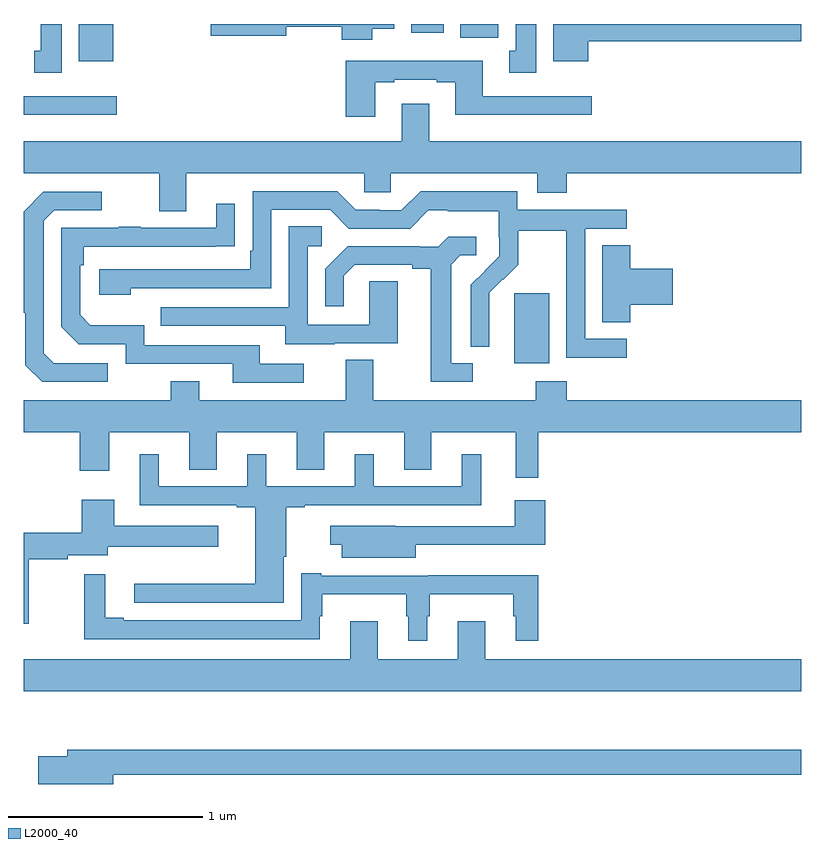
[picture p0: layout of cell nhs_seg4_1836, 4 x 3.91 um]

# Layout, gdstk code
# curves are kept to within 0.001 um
import gdstk
lib = gdstk.Library(unit=1e-6, precision=1e-09)
def R(c, l, rs):  # rectangles x0, y0, x1, y1
    for r in rs: c.add(gdstk.rectangle(r[:2], r[2:], *l))
def P(c, l, *ps):  # polygons
    for p in ps: c.add(gdstk.Polygon(p, *l))
L2000_40 = (2000, 40)

nhs_seg4_1836 = lib.new_cell('nhs_seg4_1836')
R(nhs_seg4_1836, L2000_40, [(207.524,817.154,207.703,817.515), (205,818.432,205.48,818.529), (205.283,818.708,205.462,818.9), (207.245,818.828,207.442,818.9), (206.993,818.856,207.16,818.9)])
P(nhs_seg4_1836, L2000_40, [(207.904,818.812),(209,818.812),(209,818.9),(207.725,818.9),(207.725,818.708),(207.904,818.708)],
  [(206.794,818.876),(206.905,818.876),(206.905,818.9),(205.962,818.9),(205.962,818.84),(206.35,818.84),(206.35,818.887),(206.636,818.887),(206.636,818.819),(206.794,818.819)],
  [(207.637,818.9),(207.53,818.9),(207.53,818.762),(207.497,818.762),(207.497,818.649),(207.637,818.649)],
  [(205.195,818.9),(205.088,818.9),(205.088,818.762),(205.055,818.762),(205.055,818.649),(205.195,818.649)],
  [(206.809,818.601),(206.905,818.601),(206.905,818.613),(207.125,818.613),(207.125,818.601),(207.221,818.601),(207.221,818.432),(207.922,818.432),(207.922,818.529),(207.361,818.529),(207.361,818.71),(206.657,818.71),(206.657,818.424),(206.809,818.424)],
  [(205.837,818.132),(206.751,818.132),(206.751,818.034),(206.889,818.034),(206.889,818.132),(207.641,818.132),(207.641,818.033),(207.794,818.033),(207.794,818.132),(209,818.132),(209,818.296),(207.085,818.296),(207.085,818.491),(206.945,818.491),(206.945,818.296),(205,818.296),(205,818.132),(205.697,818.132),(205.697,817.938),(205.837,817.938)],
  [(208.102,817.281),(207.888,817.281),(207.888,817.848),(208.102,817.848),(208.102,817.944),(207.54,817.944),(207.54,818.041),(207.043,818.041),(206.943,817.941),(206.828,817.941),(206.828,817.944),(206.709,817.944),(206.613,818.04),(206.178,818.04),(206.178,817.735),(206.165,817.735),(206.165,817.638),(205.389,817.638),(205.389,817.508),(205.55,817.508),(205.55,817.542),(206.274,817.542),(206.274,817.944),(206.577,817.944),(206.673,817.848),(206.988,817.848),(207.081,817.941),(207.181,817.941),(207.181,817.937),(207.444,817.937),(207.444,817.803),(207.446,817.803),(207.446,817.706),(207.3,817.558),(207.3,817.24),(207.396,817.24),(207.395,817.517),(207.465,817.587),(207.468,817.584),(207.545,817.661),(207.545,817.836),(207.79,817.836),(207.79,817.612),(207.792,817.612),(207.792,817.183),(208.102,817.183)],
  [(205.432,817.155),(205.155,817.155),(205.104,817.206),(205.104,817.887),(205.158,817.941),(205.402,817.941),(205.402,818.037),(205.101,818.037),(205,817.935),(205,817.415),(205.008,817.415),(205.008,817.146),(205.095,817.059),(205.432,817.059)],
  [(206.44,817.152),(206.215,817.152),(206.215,817.248),(205.62,817.248),(205.62,817.351),(205.343,817.351),(205.29,817.404),(205.29,817.658),(205.31,817.658),(205.31,817.755),(206.087,817.756),(206.087,817.975),(205.991,817.975),(205.991,817.851),(205.601,817.851),(205.601,817.856),(205.489,817.856),(205.489,817.851),(205.194,817.851),(205.194,817.344),(205.284,817.254),(205.524,817.254),(205.524,817.152),(206.075,817.152),(206.075,817.056),(206.44,817.056)],
  [(206.599,817.257),(206.923,817.257),(206.923,817.577),(206.778,817.577),(206.778,817.353),(206.46,817.353),(206.46,817.758),(206.533,817.758),(206.533,817.859),(206.364,817.859),(206.364,817.443),(205.705,817.443),(205.705,817.347),(206.345,817.347),(206.345,817.253),(206.599,817.253)],
  [(207.31,817.155),(207.199,817.155),(207.199,817.663),(207.246,817.71),(207.328,817.71),(207.328,817.807),(207.184,817.807),(207.132,817.755),(207.038,817.755),(207.038,817.758),(206.666,817.758),(206.55,817.642),(206.55,817.449),(206.647,817.449),(206.647,817.605),(206.704,817.662),(206.999,817.662),(206.999,817.64),(207.095,817.64),(207.095,817.059),(207.31,817.059)],
  [(208.121,817.457),(208.339,817.457),(208.339,817.64),(208.121,817.64),(208.121,817.763),(207.977,817.763),(207.977,817.366),(208.121,817.366)],
  [(207.647,816.8),(209,816.8),(209,816.964),(207.794,816.964),(207.794,817.063),(207.634,817.063),(207.634,816.964),(206.797,816.964),(206.797,817.172),(206.657,817.172),(206.657,816.964),(205.903,816.964),(205.903,817.063),(205.756,817.063),(205.756,816.964),(205,816.964),(205,816.8),(205.289,816.8),(205.289,816.603),(205.441,816.603),(205.441,816.8),(205.853,816.8),(205.853,816.607),(205.993,816.607),(205.993,816.8),(206.405,816.8),(206.405,816.607),(206.545,816.607),(206.545,816.8),(206.957,816.8),(206.957,816.607),(207.097,816.607),(207.097,816.8),(207.53,816.8),(207.53,816.567),(207.647,816.567)],
  [(206.338,816.159),(206.35,816.159),(206.35,816.414),(206.446,816.414),(206.446,816.426),(207.353,816.426),(207.353,816.688),(207.254,816.688),(207.254,816.522),(206.8,816.522),(206.8,816.688),(206.702,816.688),(206.702,816.522),(206.248,816.522),(206.248,816.688),(206.15,816.688),(206.15,816.522),(205.696,816.522),(205.696,816.688),(205.598,816.688),(205.598,816.426),(206.096,816.426),(206.096,816.414),(206.192,816.414),(206.192,816.02),(205.569,816.02),(205.569,815.922),(206.338,815.922)],
  [(205.026,816.148),(205.226,816.148),(205.226,816.168),(205.432,816.168),(205.432,816.212),(206.002,816.212),(206.002,816.319),(205.465,816.319),(205.465,816.454),(205.298,816.454),(205.298,816.284),(205,816.284),(205,815.814),(205.026,815.814)],
  [(207.016,816.221),(207.683,816.221),(207.683,816.451),(207.527,816.451),(207.527,816.318),(206.912,816.318),(206.912,816.319),(206.577,816.319),(206.577,816.221),(206.636,816.221),(206.636,816.155),(207.016,816.155)],
  [(207.076,815.855),(207.088,815.855),(207.088,815.966),(207.519,815.966),(207.519,815.855),(207.53,815.855),(207.53,815.727),(207.647,815.727),(207.647,816.064),(207.082,816.064),(207.082,816.063),(206.53,816.063),(206.53,816.076),(206.427,816.076),(206.427,815.832),(205.516,815.832),(205.516,815.845),(205.42,815.845),(205.42,816.07),(205.311,816.07),(205.311,815.736),(206.524,815.736),(206.524,815.855),(206.536,815.855),(206.536,815.966),(206.967,815.966),(206.967,815.855),(206.978,815.855),(206.978,815.727),(207.076,815.727)],
  [(209,815.632),(207.373,815.632),(207.373,815.827),(207.233,815.827),(207.233,815.632),(206.821,815.632),(206.821,815.827),(206.681,815.827),(206.681,815.632),(205,815.632),(205,815.468),(209,815.468)],
  [(205.462,815.038),(209,815.038),(209,815.167),(205.223,815.167),(205.223,815.133),(205.074,815.133),(205.074,814.991),(205.462,814.991)])

lib.write_gds('nhs_seg4_1836.gds')
